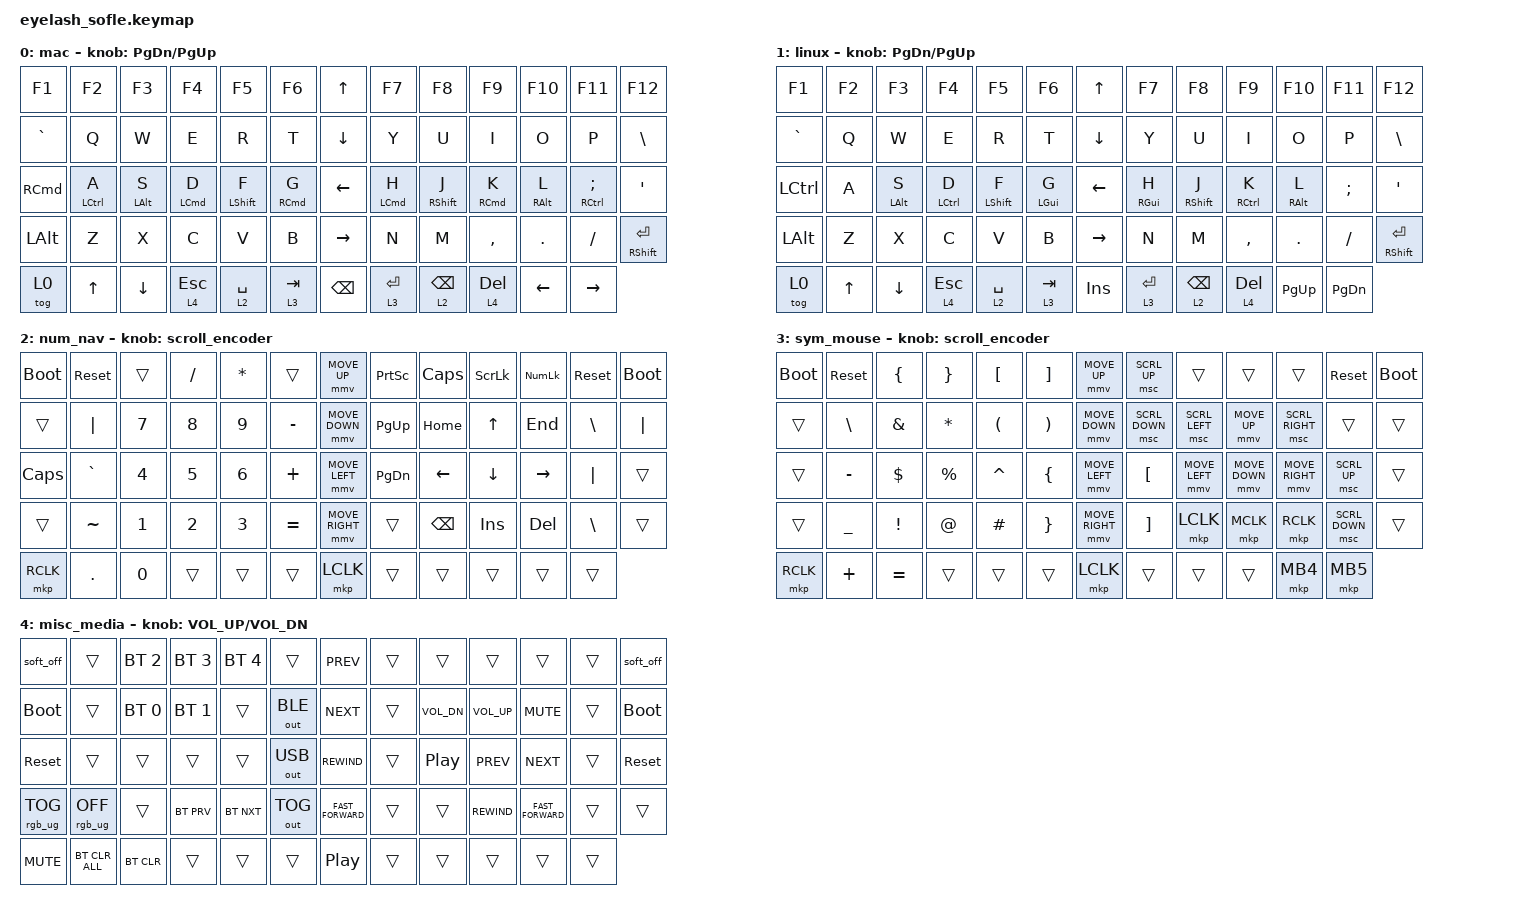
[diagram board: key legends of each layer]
// https://nickcoutsos.github.io/keymap-editor/

#define ZMK_POINTING_DEFAULT_MOVE_VAL 1200  // 600
#define ZMK_POINTING_DEFAULT_SCRL_VAL 25   // 10

#include <input/processors.dtsi>
#include <zephyr/dt-bindings/input/input-event-codes.h>
#include <behaviors.dtsi>
#include <dt-bindings/zmk/bt.h>
#include <dt-bindings/zmk/keys.h>
#include <dt-bindings/zmk/outputs.h>
#include <dt-bindings/zmk/pointing.h>
#include <dt-bindings/zmk/rgb.h>

&mmv_input_listener { input-processors = <&zip_xy_scaler 2 1>; };

&msc_input_listener { input-processors = <&zip_scroll_scaler 2 1>; };

&msc {
    acceleration-exponent = <1>;      // 0
    time-to-max-speed-ms = <100>;       // 300
    delay-ms = <0>;                   // 0
};

&mmv {
    time-to-max-speed-ms = <500>;
    acceleration-exponent = <1>;
    trigger-period-ms = <16>;
};

&soft_off { hold-time-ms = <2000>; };

/ {
    scroll_encoder: scroll_encoder {
        compatible = "zmk,behavior-sensor-rotate";
        #sensor-binding-cells = <0>;
        bindings = <&msc SCRL_DOWN>, <&msc SCRL_UP>;

        tap-ms = <100>;
    };

    hm: homerow_mods {
        compatible = "zmk,behavior-hold-tap";
        label = "HOMEROW_MODS";
        bindings = <&kp>, <&kp>;

        #binding-cells = <2>;
        tapping-term-ms = <200>;
        quick-tap-ms = <0>;
        flavor = "tap-preferred";
    };

    behaviors {
    };

    combos {
        compatible = "zmk,combos";

        softoff {
            bindings = <&soft_off>;
            key-positions = <14 28 40>;
        };
    };

    keymap {
        compatible = "zmk,keymap";

        mac {
            bindings = <
&kp F1        &kp F2       &kp F3          &kp F4              &kp F5       &kp F6        &kp UP         &kp F7       &kp F8           &kp F9        &kp F10     &kp F11         &kp F12
&kp GRAVE     &kp Q        &kp W           &kp E               &kp R        &kp T         &kp DOWN       &kp Y        &kp U            &kp I         &kp O       &kp P           &kp BSLH
&kp RCMD      &hm LCTRL A  &hm LALT S      &hm LEFT_COMMAND D  &hm LSHFT F  &hm RCMD G    &kp LEFT       &hm LCMD H   &hm RSHFT J      &hm RCMD K    &hm RALT L  &hm RCTRL SEMI  &kp APOS
&kp LEFT_ALT  &kp Z        &kp X           &kp C               &kp V        &kp B         &kp RIGHT      &kp N        &kp M            &kp COMMA     &kp DOT     &kp FSLH        &hm RSHIFT ENTER
&tog 0        &kp UP       &kp DOWN_ARROW  &lt 4 ESCAPE        &lt 2 SPACE  &lt 3 TAB     &kp BACKSPACE  &lt 3 ENTER  &lt 2 BACKSPACE  &lt 4 DELETE  &kp LEFT    &kp RIGHT
            >;

            sensor-bindings = <&inc_dec_kp PG_DN PG_UP>;
            display-name = "mac";
        };

        linux {
            bindings = <
&kp F1        &kp F2  &kp F3          &kp F4        &kp F5       &kp F6        &kp UP     &kp F7       &kp F8           &kp F9        &kp F10      &kp F11        &kp F12
&kp GRAVE     &kp Q   &kp W           &kp E         &kp R        &kp T         &kp DOWN   &kp Y        &kp U            &kp I         &kp O        &kp P          &kp BSLH
&kp LCTRL     &kp A   &hm LALT S      &hm LCTRL D   &hm LSHFT F  &hm LGUI G    &kp LEFT   &hm RGUI H   &hm RSHFT J      &hm RCTRL K   &hm RALT L   &kp SEMI       &kp APOS
&kp LEFT_ALT  &kp Z   &kp X           &kp C         &kp V        &kp B         &kp RIGHT  &kp N        &kp M            &kp COMMA     &kp DOT      &kp FSLH       &hm RSHIFT ENTER
&tog 0        &kp UP  &kp DOWN_ARROW  &lt 4 ESCAPE  &lt 2 SPACE  &lt 3 TAB     &kp INS    &lt 3 ENTER  &lt 2 BACKSPACE  &lt 4 DELETE  &kp PAGE_UP  &kp PAGE_DOWN
            >;

            sensor-bindings = <&inc_dec_kp PAGE_DOWN PAGE_UP>;
            display-name = "linux";
        };

        num_nav {
            bindings = <
&bootloader  &sys_reset  &trans  &kp SLASH  &kp ASTRK  &trans       &mmv MOVE_UP     &kp PRINTSCREEN  &kp CAPS       &kp SCROLLLOCK  &kp KP_NUMLOCK  &sys_reset     &bootloader
&trans       &kp PIPE    &kp N7  &kp N8     &kp N9     &kp MINUS    &mmv MOVE_DOWN   &kp PG_UP        &kp HOME       &kp UP          &kp END         &kp BACKSLASH  &kp PIPE
&kp CAPS     &kp GRAVE   &kp N4  &kp N5     &kp N6     &kp PLUS     &mmv MOVE_LEFT   &kp PG_DN        &kp LEFT       &kp DOWN        &kp RIGHT       &kp PIPE       &trans
&trans       &kp TILDE   &kp N1  &kp N2     &kp N3     &kp EQUAL    &mmv MOVE_RIGHT  &trans           &kp BACKSPACE  &kp INSERT      &kp DEL         &kp BACKSLASH  &trans
&mkp RCLK    &kp DOT     &kp N0  &trans     &trans     &trans       &mkp LCLK        &trans           &trans         &trans          &trans          &trans
            >;

            display-name = "num_nav";
            sensor-bindings = <&scroll_encoder>;
        };

        sym_mouse {
            bindings = <
&bootloader  &sys_reset     &kp LEFT_BRACE  &kp RIGHT_BRACE  &kp LEFT_BRACKET      &kp RIGHT_BRACKET        &mmv MOVE_UP     &msc SCRL_UP       &trans          &trans          &trans           &sys_reset      &bootloader
&trans       &kp BACKSLASH  &kp AMPERSAND   &kp ASTRK        &kp LEFT_PARENTHESIS  &kp RIGHT_PARENTHESIS    &mmv MOVE_DOWN   &msc SCRL_DOWN     &msc SCRL_LEFT  &mmv MOVE_UP    &msc SCRL_RIGHT  &trans          &trans
&trans       &kp MINUS      &kp DOLLAR      &kp PERCENT      &kp CARET             &kp LEFT_BRACE           &mmv MOVE_LEFT   &kp LEFT_BRACKET   &mmv MOVE_LEFT  &mmv MOVE_DOWN  &mmv MOVE_RIGHT  &msc SCRL_UP    &trans
&trans       &kp UNDER      &kp EXCL        &kp AT           &kp HASH              &kp RIGHT_BRACE          &mmv MOVE_RIGHT  &kp RIGHT_BRACKET  &mkp LCLK       &mkp MCLK       &mkp RCLK        &msc SCRL_DOWN  &trans
&mkp RCLK    &kp PLUS       &kp EQUAL       &trans           &trans                &trans                   &mkp LCLK        &trans             &trans          &trans          &mkp MB4         &mkp MB5
            >;

            sensor-bindings = <&scroll_encoder>;
            display-name = "sym_mouse";
        };

        misc_media {
            bindings = <
&soft_off        &trans           &bt BT_SEL 2  &bt BT_SEL 3  &bt BT_SEL 4  &trans          &kp C_PREV          &trans  &trans            &trans        &trans              &trans  &soft_off
&bootloader      &trans           &bt BT_SEL 0  &bt BT_SEL 1  &trans        &out OUT_BLE    &kp C_NEXT          &trans  &kp C_VOL_DN      &kp C_VOL_UP  &kp C_MUTE          &trans  &bootloader
&sys_reset       &trans           &trans        &trans        &trans        &out OUT_USB    &kp C_REWIND        &trans  &kp C_PLAY_PAUSE  &kp C_PREV    &kp C_NEXT          &trans  &sys_reset
&rgb_ug RGB_TOG  &rgb_ug RGB_OFF  &trans        &bt BT_PRV    &bt BT_NXT    &out OUT_TOG    &kp C_FAST_FORWARD  &trans  &trans            &kp C_REWIND  &kp C_FAST_FORWARD  &trans  &trans
&kp C_MUTE       &bt BT_CLR_ALL   &bt BT_CLR    &trans        &trans        &trans          &kp C_PLAY_PAUSE    &trans  &trans            &trans        &trans              &trans
            >;

            display-name = "misc_media";
            sensor-bindings = <&inc_dec_kp C_VOL_UP C_VOL_DN>;
        };
    };
};
